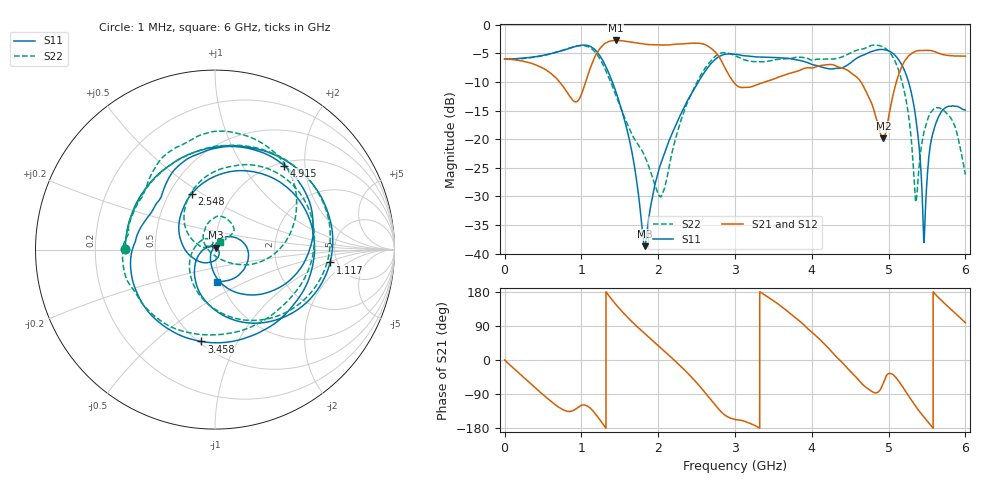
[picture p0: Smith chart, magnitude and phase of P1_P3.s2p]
! P1-P3  26-Dec-22  12:54:53
! Ref Plane: 0.000 mm
# MHZ S MA R  50
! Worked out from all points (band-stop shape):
!   10001 points, 1 MHz to 6 GHz, reference 50 ohm
!   highest |S21| = -2.77 dB at 1.447 GHz (marker M1); lowest = -19.9 dB at 4.933 GHz (marker M2)
!   |S21| within 3 dB of the highest: 1.172 GHz to 2.799 GHz (1.627 GHz wide, 82 % of centre); 5.241 GHz to end of sweep
!   lowest |S11| = -38.7 dB at 1.823 GHz (marker M3), VSWR 1.02, Z = 50.6 + j1.02 ohm
!   |S11| at or under -10 dB: 1.403 GHz to 2.523 GHz (1.119 GHz wide, 57 % of centre); 5.259 GHz to end of sweep
!   |S22| runs from -31.0 to -3.6 dB; largest |S21 - S12| = 0.011
!   S11 on the Smith chart (normalised r, x): 1 MHz: 0.33, +0.00; 1.117 GHz: 4.36, -1.07; 2.548 GHz: 0.65, +0.45; 3.458 GHz: 0.52, -0.72; 4.915 GHz: 1.06, +1.57; 6 GHz: 0.95, -0.35
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1  0.5007 179.9  0.4999 0.1  0.4997 -0.1  0.4999 179.8
656.0908  0.5696 91.3  0.3497 -117.3  0.35 -117.4  0.5702 92.8
1001.033  0.6608 25.6  0.2459 -119.5  0.2462 -119.8  0.6568 25.8
1117.414  0.6451 -6.4  0.419 -127.4  0.4184 -127.4  0.6269 -7.5
1447.359  0.2625 -107.6  0.727 147.2  0.7264 147.1  0.243 -116.6
1823.496  0.01164 59.9  0.6746 69.8  0.675 69.9  0.07148 122.7
2001.067  0.05192 -78.1  0.6649 37.6  0.6634 37.7  0.03312 114.6
2284.219  0.1597 -175.8  0.6779 -14.9  0.6761 -14.7  0.1373 156.6
2548.175  0.337 112.7  0.6855 -70.7  0.6831 -70.4  0.3562 109.9
2755.141  0.5041 55.0  0.5641 -121.5  0.5641 -121.5  0.5376 57.3
3000.5  0.5507 -10.7  0.3044 -156.8  0.3052 -156.3  0.5357 -10.4
3457.624  0.5175 -98.4  0.3267 162.3  0.329 162.3  0.4825 -104.3
4000.533  0.4483 175.2  0.4179 73.0  0.4213 73.3  0.4897 170.0
4323.879  0.4151 141.9  0.4331 7.5  0.4375 7.6  0.506 141.7
4914.781  0.6066 50.3  0.1034 -69.1  0.1035 -69.7  0.6441 63.5
4932.778  0.6056 46.0  0.1017 -60.2  0.1014 -60.6  0.6364 59.4
5000.567  0.5913 28.1  0.1566 -35.8  0.1556 -35.4  0.5865 43.0
5220.73  0.3769 -39.5  0.4942 -82.4  0.496 -82.0  0.2324 -19.8
5353.308  0.1542 -87.5  0.5865 -122.2  0.5894 -121.9  0.02843 -122.8
5462.49  0.01278 146.0  0.5947 -151.1  0.6027 -150.7  0.1166 121.6
5629.262  0.1451 23.8  0.5706 168.9  0.572 169.7  0.1882 80.3
6000  0.1792 -87.1  0.53 98.5  0.5364 99.2  0.0491 53.4
